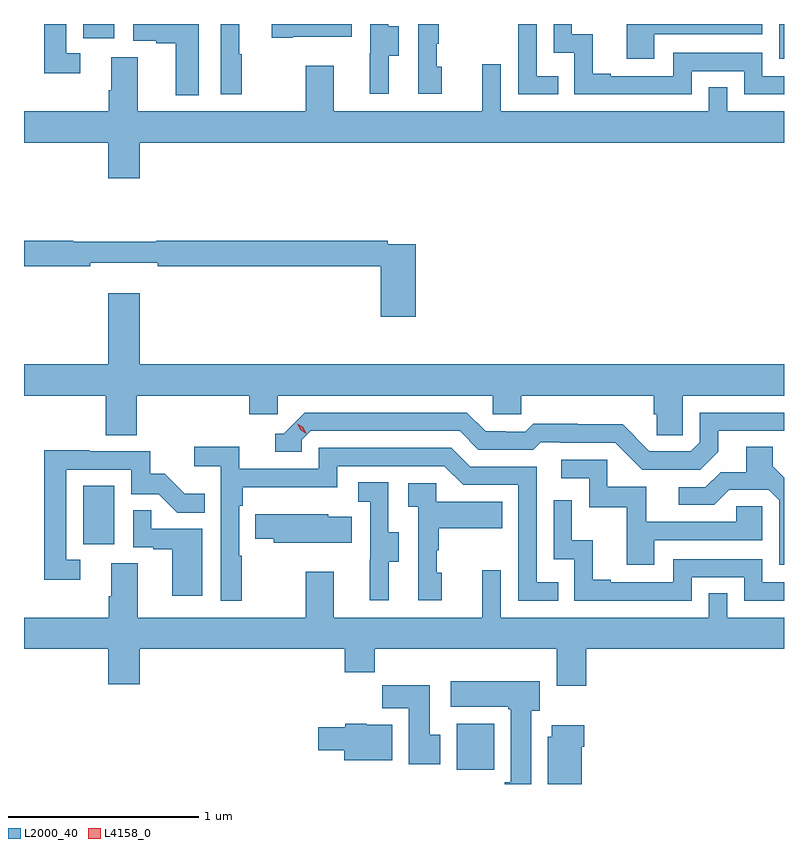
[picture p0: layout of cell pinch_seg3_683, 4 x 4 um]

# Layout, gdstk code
import gdstk
lib = gdstk.Library(unit=1e-6, precision=1e-09)
def R(c, l, rs):  # rectangles x0, y0, x1, y1
    for r in rs: c.add(gdstk.rectangle(r[:2], r[2:], *l))
def P(c, l, *ps):  # polygons
    for p in ps: c.add(gdstk.Polygon(p, *l))
L2000_40 = (2000, 40)
L4158_0 = (4158, 0)

pinch_seg3_683 = lib.new_cell('pinch_seg3_683')
R(pinch_seg3_683, L2000_40, [(1143.863,677.636,1144.06,677.878), (1141.898,678.822,1142.062,679.129), (1145.562,681.378,1145.586,681.56), (1141.898,681.486,1142.062,681.56)])
P(pinch_seg3_683, L2000_40, [(1143.001,681.494),(1143.311,681.494),(1143.311,681.56),(1142.889,681.56),(1142.889,681.487),(1143.001,681.487)],
  [(1145.1,681.312),(1145.376,681.312),(1145.376,681.189),(1145.586,681.189),(1145.586,681.285),(1145.472,681.285),(1145.472,681.408),(1145.004,681.408),(1145.004,681.285),(1144.675,681.285),(1144.675,681.298),(1144.58,681.298),(1144.58,681.506),(1144.47,681.506),(1144.47,681.56),(1144.374,681.56),(1144.374,681.408),(1144.482,681.408),(1144.482,681.189),(1145.1,681.189)],
  [(1143.784,681.336),(1143.759,681.336),(1143.759,681.455),(1143.769,681.455),(1143.769,681.56),(1143.66,681.56),(1143.66,681.192),(1143.784,681.192)],
  [(1143.505,681.394),(1143.559,681.394),(1143.559,681.549),(1143.504,681.549),(1143.504,681.56),(1143.408,681.56),(1143.408,681.405),(1143.407,681.405),(1143.407,681.192),(1143.505,681.192)],
  [(1142.506,681.56),(1142.16,681.56),(1142.16,681.471),(1142.281,681.471),(1142.281,681.459),(1142.384,681.459),(1142.384,681.185),(1142.506,681.185)],
  [(1144.903,681.507),(1145.472,681.507),(1145.472,681.56),(1144.759,681.56),(1144.759,681.378),(1144.903,681.378)],
  [(1144.397,681.285),(1144.284,681.285),(1144.284,681.56),(1144.188,681.56),(1144.188,681.189),(1144.397,681.189)],
  [(1141.882,681.405),(1141.809,681.405),(1141.809,681.56),(1141.693,681.56),(1141.693,681.3),(1141.882,681.3)],
  [(1142.731,681.401),(1142.719,681.401),(1142.719,681.56),(1142.622,681.56),(1142.622,681.189),(1142.731,681.189)],
  [(1142.194,680.936),(1145.586,680.936),(1145.586,681.1),(1145.286,681.1),(1145.286,681.227),(1145.19,681.227),(1145.19,681.1),(1144.095,681.1),(1144.095,681.349),(1143.998,681.349),(1143.998,681.1),(1143.217,681.1),(1143.217,681.34),(1143.07,681.34),(1143.07,681.1),(1142.185,681.1),(1142.185,681.386),(1142.045,681.386),(1142.045,681.212),(1142.033,681.212),(1142.033,681.1),(1141.586,681.1),(1141.586,680.936),(1142.03,680.936),(1142.03,680.748),(1142.194,680.748)],
  [(1143.647,680.4),(1143.5,680.4),(1143.5,680.42),(1142.281,680.42),(1142.281,680.413),(1141.844,680.413),(1141.844,680.42),(1141.586,680.42),(1141.586,680.284),(1141.934,680.284),(1141.934,680.303),(1142.29,680.303),(1142.29,680.284),(1143.464,680.284),(1143.464,680.019),(1143.647,680.019)],
  [(1142.18,679.604),(1142.771,679.604),(1142.771,679.506),(1142.922,679.506),(1142.922,679.604),(1144.053,679.604),(1144.053,679.506),(1144.203,679.506),(1144.203,679.604),(1144.901,679.604),(1144.901,679.506),(1144.915,679.506),(1144.915,679.396),(1145.052,679.396),(1145.052,679.604),(1145.586,679.604),(1145.586,679.768),(1142.194,679.768),(1142.194,680.143),(1142.03,680.143),(1142.03,679.768),(1141.586,679.768),(1141.586,679.604),(1142.015,679.604),(1142.015,679.396),(1142.18,679.396)],
  [(1145.239,679.309),(1145.239,679.419),(1145.586,679.419),(1145.586,679.515),(1145.142,679.515),(1145.142,679.359),(1145.094,679.311),(1144.878,679.311),(1144.736,679.453),(1144.5,679.453),(1144.5,679.456),(1144.267,679.456),(1144.225,679.413),(1144.122,679.413),(1144.122,679.416),(1144.015,679.416),(1143.916,679.515),(1143.063,679.515),(1142.952,679.404),(1142.909,679.404),(1142.909,679.308),(1143.048,679.308),(1143.048,679.371),(1143.096,679.419),(1143.879,679.419),(1143.978,679.32),(1144.267,679.32),(1144.306,679.359),(1144.405,679.359),(1144.405,679.356),(1144.698,679.356),(1144.839,679.215),(1145.145,679.215)],
  [(1145.586,679.173),(1145.527,679.232),(1145.527,679.334),(1145.387,679.334),(1145.387,679.202),(1145.252,679.202),(1145.172,679.122),(1145.031,679.122),(1145.031,679.029),(1145.218,679.029),(1145.299,679.11),(1145.505,679.11),(1145.562,679.053),(1145.562,678.714),(1145.586,678.714)],
  [(1142.731,678.761),(1142.718,678.761),(1142.718,679.025),(1142.737,679.025),(1142.737,679.121),(1143.234,679.121),(1143.234,679.233),(1143.798,679.233),(1143.897,679.134),(1144.188,679.134),(1144.188,678.525),(1144.397,678.525),(1144.397,678.621),(1144.284,678.621),(1144.284,679.23),(1143.934,679.23),(1143.835,679.329),(1143.138,679.329),(1143.138,679.218),(1142.72,679.218),(1142.72,679.334),(1142.481,679.334),(1142.481,679.232),(1142.622,679.232),(1142.622,678.525),(1142.731,678.525)],
  [(1141.882,678.741),(1141.809,678.741),(1141.809,679.215),(1142.151,679.215),(1142.151,679.086),(1142.295,679.086),(1142.393,678.988),(1142.537,678.988),(1142.537,679.087),(1142.433,679.087),(1142.326,679.194),(1142.25,679.194),(1142.25,679.311),(1141.931,679.311),(1141.931,679.316),(1141.693,679.316),(1141.693,678.636),(1141.882,678.636)],
  [(1144.903,678.843),(1145.472,678.843),(1145.472,679.023),(1145.335,679.023),(1145.335,678.939),(1144.861,678.939),(1144.861,679.125),(1144.656,679.125),(1144.656,679.266),(1144.413,679.266),(1144.413,679.17),(1144.56,679.17),(1144.56,679.017),(1144.759,679.017),(1144.759,678.714),(1144.903,678.714)],
  [(1143.505,678.73),(1143.559,678.73),(1143.559,678.885),(1143.504,678.885),(1143.504,679.148),(1143.345,679.148),(1143.345,679.045),(1143.408,679.045),(1143.408,678.741),(1143.407,678.741),(1143.407,678.528),(1143.505,678.528)],
  [(1143.784,678.672),(1143.759,678.672),(1143.759,678.791),(1143.769,678.791),(1143.769,678.905),(1144.103,678.905),(1144.103,679.045),(1143.756,679.045),(1143.756,679.143),(1143.609,679.143),(1143.609,679.019),(1143.66,679.019),(1143.66,678.528),(1143.784,678.528)],
  [(1145.1,678.648),(1145.376,678.648),(1145.376,678.525),(1145.586,678.525),(1145.586,678.621),(1145.472,678.621),(1145.472,678.744),(1145.004,678.744),(1145.004,678.621),(1144.675,678.621),(1144.675,678.634),(1144.58,678.634),(1144.58,678.842),(1144.47,678.842),(1144.47,679.054),(1144.374,679.054),(1144.374,678.744),(1144.482,678.744),(1144.482,678.525),(1145.1,678.525)],
  [(1142.524,678.903),(1142.255,678.903),(1142.255,679.001),(1142.16,679.001),(1142.16,678.807),(1142.267,678.807),(1142.267,678.795),(1142.366,678.795),(1142.366,678.552),(1142.524,678.552)],
  [(1143.311,678.967),(1143.186,678.967),(1143.186,678.979),(1142.803,678.979),(1142.803,678.85),(1142.901,678.85),(1142.901,678.83),(1143.311,678.83)],
  [(1144.544,678.272),(1145.586,678.272),(1145.586,678.436),(1145.286,678.436),(1145.286,678.563),(1145.19,678.563),(1145.19,678.436),(1144.095,678.436),(1144.095,678.685),(1143.998,678.685),(1143.998,678.436),(1143.217,678.436),(1143.217,678.676),(1143.07,678.676),(1143.07,678.436),(1142.185,678.436),(1142.185,678.722),(1142.045,678.722),(1142.045,678.548),(1142.033,678.548),(1142.033,678.436),(1141.586,678.436),(1141.586,678.272),(1142.03,678.272),(1142.03,678.084),(1142.194,678.084),(1142.194,678.272),(1143.275,678.272),(1143.275,678.148),(1143.431,678.148),(1143.431,678.272),(1144.391,678.272),(1144.391,678.078),(1144.544,678.078)],
  [(1144.255,677.946),(1144.3,677.946),(1144.3,678.1),(1143.831,678.1),(1143.831,677.966),(1144.135,677.966),(1144.135,677.953),(1144.148,677.953),(1144.148,677.57),(1144.115,677.57),(1144.115,677.56),(1144.255,677.56)],
  [(1143.778,677.82),(1143.721,677.82),(1143.721,678.079),(1143.472,678.079),(1143.472,677.96),(1143.611,677.96),(1143.611,677.664),(1143.778,677.664)],
  [(1143.523,677.872),(1143.39,677.872),(1143.39,677.878),(1143.276,677.878),(1143.276,677.86),(1143.135,677.86),(1143.135,677.738),(1143.272,677.738),(1143.272,677.684),(1143.523,677.684)],
  [(1144.522,677.756),(1144.535,677.756),(1144.535,677.869),(1144.364,677.869),(1144.364,677.808),(1144.343,677.808),(1144.343,677.56),(1144.522,677.56)])
P(pinch_seg3_683, L4158_0, [(1143.071,679.404),(1143.041,679.424),(1143.024,679.456),(1143.024,679.457),(1143.025,679.457),(1143.056,679.437),(1143.072,679.405),(1143.072,679.404)])

lib.write_gds('pinch_seg3_683.gds')
